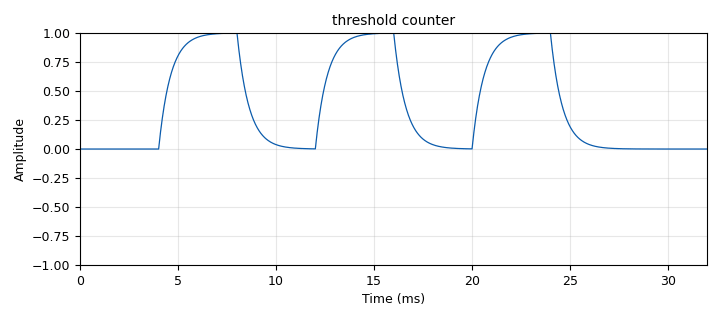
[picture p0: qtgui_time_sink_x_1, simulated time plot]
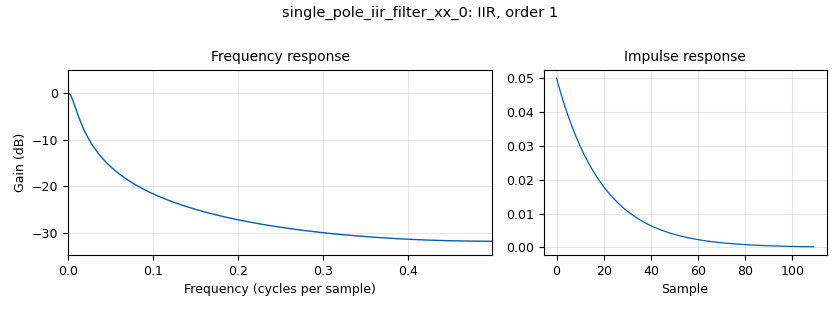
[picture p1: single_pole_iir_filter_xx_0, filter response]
options:
  parameters:
    generate_options: qt_gui
    id: block_tags
    output_language: python
    title: block_tags_tutorial
  states: {}

blocks:
- name: samp_rate
  id: variable
  parameters:
    value: '32000'
  states: {}
- name: blocks_add_const_vxx_0
  id: blocks_add_const_vxx
  parameters:
    const: '0.5'
    type: float
  states: {}
- name: blocks_multiply_const_vxx_0
  id: blocks_multiply_const_vxx
  parameters:
    const: '0.5'
    type: float
  states: {}
- name: blocks_repeat_0
  id: blocks_repeat
  parameters:
    interp: '128'
    type: float
  states: {}
- name: blocks_tag_gate_0
  id: blocks_tag_gate
  parameters:
    propagate_tags: 'False'
    type: float
  states: {}
- name: blocks_throttle_0
  id: blocks_throttle
  parameters:
    samples_per_second: samp_rate
    type: float
  states: {}
- name: digital_glfsr_source_x_0
  id: digital_glfsr_source_x
  parameters:
    degree: '32'
    mask: '0'
    repeat: 'True'
    seed: '1'
    type: float
  states: {}
- name: epy_block_0
  id: epy_block
  parameters:
    _source_code: |
      """
      Embedded Python Blocks:

      Each time this file is saved, GRC will instantiate the first class it finds
      to get ports and parameters of your block. The arguments to __init__  will
      be the parameters. All of them are required to have default values!
      """

      import numpy as np
      from gnuradio import gr
      import pmt


      class blk(gr.sync_block):  # other base classes are basic_block, decim_block, interp_block
          """Embedded Python Block example - a simple multiply const"""

          def __init__(self, treshold = 1.0, report_period = 128):  # only default arguments here
              """arguments to this function show up as parameters in GRC"""
              gr.sync_block.__init__(
                  self,
                  name='threshold_detector',   # will show up in GRC
                  in_sig=[np.float32],
                  out_sig=[np.float32]
              )
              self.threshold = treshold
              self.report_period = report_period

              self.timer = 0
              self.ready_for_flag = True

          def work(self, input_items, output_items):
              for index in range(len(input_items[0])):
                  if (input_items[0][index] >= self.threshold and self.ready_for_flag == True):
                      # define the key as 'detect'
                      key = pmt.intern('detect')
                      # get the detection value
                      value = pmt.from_float(np.round(float(input_items[0][index]),2))
                      # tag index to be written
                      write_index = self.nitems_written(0) + index
                      # add the tag object (key, value pair)
                      self.add_item_tag(0, write_index, key, value )
                      # tag has been written, set state
                      self.ready_for_flag = False

                  if (self.ready_for_flag == False):
                      self.timer = self.timer + 1

                  if (self.timer >= self.report_period):
                      self.timer =0
                      self.ready_for_flag = True



              output_items[0][:] = input_items[0]
              return len(output_items[0])
    report_period: '128'
    treshold: '0.75'
  states: {}
- name: epy_block_1
  id: epy_block
  parameters:
    _source_code: |
      """
      Embedded Python Blocks:

      Each time this file is saved, GRC will instantiate the first class it finds
      to get ports and parameters of your block. The arguments to __init__  will
      be the parameters. All of them are required to have default values!
      """

      import numpy as np
      from gnuradio import gr
      import pmt


      class blk(gr.sync_block):  # other base classes are basic_block, decim_block, interp_block
          """Embedded Python Block example - a simple multiply const"""

          def __init__(self):  # only default arguments here
              """arguments to this function show up as parameters in GRC"""
              gr.sync_block.__init__(
                  self,
                  name='detection_counter',   # will show up in GRC
                  in_sig=[np.float32],
                  out_sig=[np.float32]
              )
              self.samples_since_dectection = 0


          def work(self, input_items, output_items):
              tag_tuple = self.get_tags_in_window(0, 0, len(input_items[0]))
              relative_offset_list = []

              for tag in tag_tuple:
                  if (pmt.to_python(tag.key) == 'detect'):
                      relative_offset_list.append(tag.offset - self.nitimes_read(0))

              relative_offset_list.sort()

              for index in range(len(output_items[0])):
                  output_items[0][index] = self.samples_since_dectection

                  if (len(relative_offset_list) > 0 and index >= relative_offset_list[0]):
                      relative_offset_list.pop(0)
                      self.samples_since_dectection = 0

                  else:
                      self.samples_since_dectection = self.samples_since_dectection + 1

              output_items[0][:] = input_items[0]
              return len(output_items[0])
  states: {}
- name: qtgui_time_sink_x_0
  id: qtgui_time_sink_x
  parameters:
    autoscale: 'True'
    name: '"Detection Counter"'
    size: '2048'
    srate: samp_rate
    type: float
  states: {}
- name: qtgui_time_sink_x_1
  id: qtgui_time_sink_x
  parameters:
    name: '"threshold counter"'
    size: '1024'
    srate: samp_rate
    type: float
  states: {}
- name: single_pole_iir_filter_xx_0
  id: single_pole_iir_filter_xx
  parameters:
    alpha: '0.05'
    type: float
  states: {}
- name: virtual_sink_0
  id: virtual_sink
  parameters:
    stream_id: signal
  states: {}
- name: virtual_source_0
  id: virtual_source
  parameters:
    stream_id: signal
  states: {}

connections:
- [blocks_add_const_vxx_0, '0', single_pole_iir_filter_xx_0, '0']
- [blocks_multiply_const_vxx_0, '0', blocks_add_const_vxx_0, '0']
- [blocks_repeat_0, '0', blocks_multiply_const_vxx_0, '0']
- [blocks_tag_gate_0, '0', qtgui_time_sink_x_0, '0']
- [blocks_throttle_0, '0', virtual_sink_0, '0']
- [digital_glfsr_source_x_0, '0', blocks_repeat_0, '0']
- [epy_block_0, '0', epy_block_1, '0']
- [epy_block_0, '0', qtgui_time_sink_x_1, '0']
- [epy_block_1, '0', blocks_tag_gate_0, '0']
- [single_pole_iir_filter_xx_0, '0', blocks_throttle_0, '0']
- [virtual_source_0, '0', epy_block_0, '0']

metadata:
  file_format: 1
